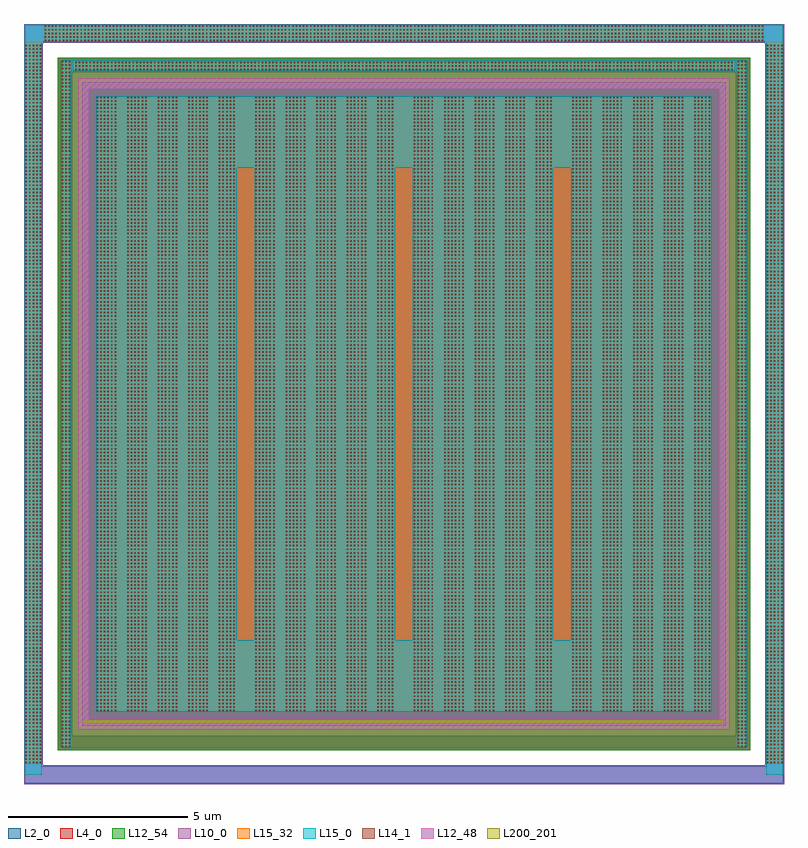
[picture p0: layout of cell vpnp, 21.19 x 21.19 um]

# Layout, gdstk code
import gdstk
lib = gdstk.Library(unit=1e-6, precision=1e-09)
def R(c, l, rs):  # rectangles x0, y0, x1, y1
    for r in rs: c.add(gdstk.rectangle(r[:2], r[2:], *l))
def A(c, l, x, y, w, h, nx, ny, dx, dy):  # array of equal rectangles
    R(c, l, [(x+i*dx, y+j*dy, x+i*dx+w, y+j*dy+h) for i in range(nx) for j in range(ny)])
L2_0 = (2, 0)
L4_0 = (4, 0)
L10_0 = (10, 0)
L12_48 = (12, 48)
L12_54 = (12, 54)
L14_1 = (14, 1)
L15_0 = (15, 0)
L15_32 = (15, 32)
L200_201 = (200, 201)

vpnp = lib.new_cell('vpnp')
R(vpnp, L2_0, [(-17.079,-9.109,4.073,-8.629), (-17.079,-8.629,-16.599,11.563), (3.593,-8.629,4.073,11.563), (-16.099,-8.129,3.093,-7.789), (-16.099,-7.789,-15.759,10.723), (2.753,-7.789,3.093,10.723), (-15.403,-7.433,2.397,10.367), (-16.099,10.723,3.093,11.063), (-17.079,11.563,4.073,12.043)])
R(vpnp, L4_0, [(-16.155,-8.185,3.149,11.119)])
R(vpnp, L10_0, [(-17.1,-9.13,4.094,-8.608), (-17.1,-8.608,-16.578,11.542), (3.572,-8.608,4.094,11.542), (-15.473,-7.503,2.467,10.437), (-17.1,11.542,4.094,12.064)])
R(vpnp, L12_48, [(-15.584,-7.614,2.578,-7.308), (-15.584,-7.308,-15.278,10.242), (2.272,-7.308,2.578,10.242), (-15.584,10.242,2.578,10.548)])
R(vpnp, L12_54, [(-16.155,-8.185,3.149,11.119)])
A(vpnp, L14_1, -17.059, -8.553, 0.04, 0.04, 5, 201, 0.1, 0.1)
A(vpnp, L14_1, 3.613, -8.553, 0.04, 0.04, 5, 201, 0.1, 0.1)
A(vpnp, L14_1, -16.049, -8.103, 0.04, 0.04, 3, 192, 0.1, 0.1)
A(vpnp, L14_1, 2.803, -8.103, 0.04, 0.04, 3, 192, 0.1, 0.1)
A(vpnp, L14_1, -15.073, -7.103, 0.04, 0.04, 6, 172, 0.1, 0.1)
A(vpnp, L14_1, -14.221, -7.103, 0.04, 0.04, 6, 172, 0.1, 0.1)
A(vpnp, L14_1, -13.369, -7.103, 0.04, 0.04, 6, 172, 0.1, 0.1)
A(vpnp, L14_1, -12.517, -7.103, 0.04, 0.04, 6, 172, 0.1, 0.1)
A(vpnp, L14_1, -11.665, -7.103, 0.04, 0.04, 5, 172, 0.1, 0.1)
A(vpnp, L14_1, -10.654, -7.103, 0.04, 0.04, 6, 172, 0.1, 0.1)
A(vpnp, L14_1, -9.802, -7.103, 0.04, 0.04, 6, 172, 0.1, 0.1)
A(vpnp, L14_1, -8.95, -7.103, 0.04, 0.04, 6, 172, 0.1, 0.1)
A(vpnp, L14_1, -8.098, -7.103, 0.04, 0.04, 6, 172, 0.1, 0.1)
A(vpnp, L14_1, -7.246, -7.103, 0.04, 0.04, 5, 172, 0.1, 0.1)
A(vpnp, L14_1, -6.235, -7.103, 0.04, 0.04, 6, 172, 0.1, 0.1)
A(vpnp, L14_1, -5.383, -7.103, 0.04, 0.04, 6, 172, 0.1, 0.1)
A(vpnp, L14_1, -4.531, -7.103, 0.04, 0.04, 6, 172, 0.1, 0.1)
A(vpnp, L14_1, -3.679, -7.103, 0.04, 0.04, 6, 172, 0.1, 0.1)
A(vpnp, L14_1, -2.827, -7.103, 0.04, 0.04, 5, 172, 0.1, 0.1)
A(vpnp, L14_1, -1.816, -7.103, 0.04, 0.04, 6, 172, 0.1, 0.1)
A(vpnp, L14_1, -0.964, -7.103, 0.04, 0.04, 6, 172, 0.1, 0.1)
A(vpnp, L14_1, -0.112, -7.103, 0.04, 0.04, 6, 172, 0.1, 0.1)
A(vpnp, L14_1, 0.74, -7.103, 0.04, 0.04, 6, 172, 0.1, 0.1)
A(vpnp, L14_1, 1.592, -7.103, 0.04, 0.04, 5, 172, 0.1, 0.1)
A(vpnp, L14_1, -15.673, 10.773, 0.04, 0.04, 184, 3, 0.1, 0.1)
A(vpnp, L14_1, -16.523, 11.583, 0.04, 0.04, 201, 5, 0.1, 0.1)
A(vpnp, L15_0, -15.091, -5.121, 3.919, 13.176, 4, 1, 4.419, 0)
R(vpnp, L15_0, [(-17.077,-8.869,-16.601,12.041), (3.595,-8.869,4.071,12.041), (-16.067,-8.121,-15.791,11.055), (2.785,-8.121,3.061,11.055), (-15.091,-7.121,2.085,-5.121), (-15.091,8.055,2.085,10.055), (-15.791,10.755,2.785,11.055), (-16.601,11.565,3.595,12.041)])
R(vpnp, L15_32, [(-17.077,-8.571,-16.601,11.565), (3.595,-8.571,4.071,11.565), (-16.067,-8.121,-15.791,11.055), (2.785,-8.121,3.061,11.055), (-15.091,-7.121,2.085,10.055), (-15.691,10.755,2.685,11.031), (-16.541,11.565,3.535,12.041)])
R(vpnp, L200_201, [(-15.403,-7.433,2.397,-7.333)])

lib.write_gds('vpnp.gds')
